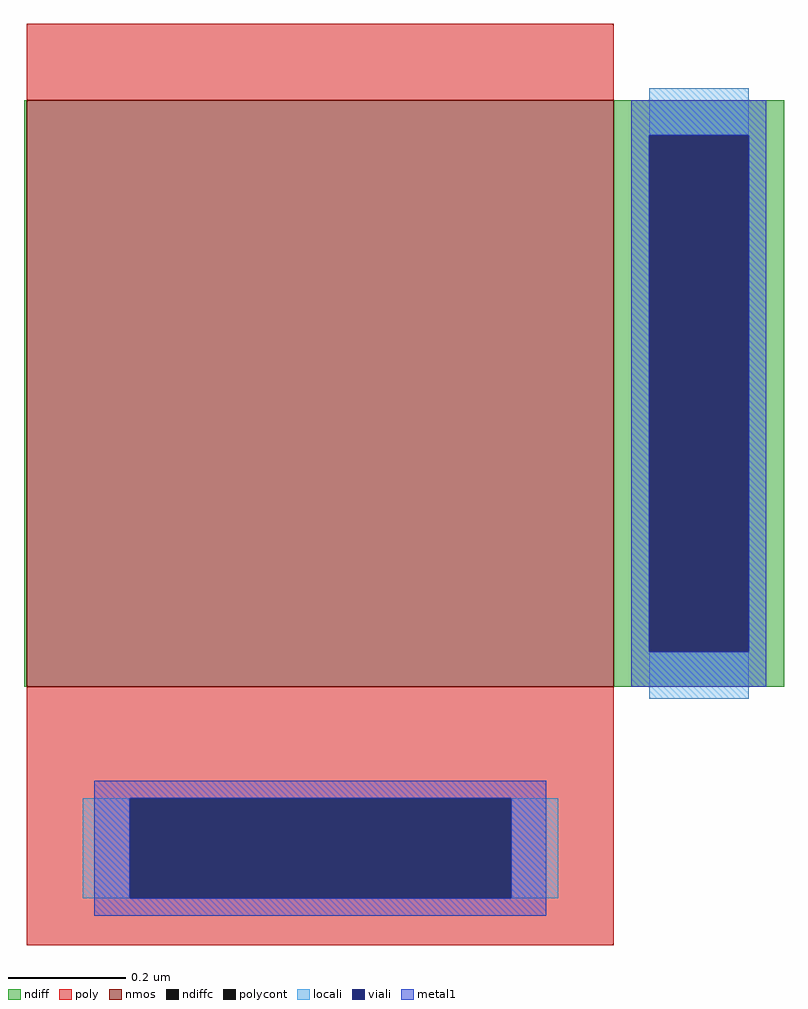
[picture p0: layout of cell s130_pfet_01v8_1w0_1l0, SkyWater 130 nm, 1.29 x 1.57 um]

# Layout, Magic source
magic
tech sky130A
magscale 1 2
<< nmos >>
rect -100 -69 100 131
<< ndiff >>
rect -101 -69 -100 131
rect 100 119 158 131
rect 100 -57 112 119
rect 146 -57 158 119
rect 100 -69 158 -57
<< ndiffc >>
rect 112 -57 146 119
<< poly >>
rect -100 131 100 157
rect -100 -107 100 -69
rect -100 -141 -65 -107
rect 65 -141 100 -107
rect -100 -157 100 -141
<< polycont >>
rect -65 -141 65 -107
<< locali >>
rect 112 119 146 135
rect 112 -73 146 -57
rect -81 -141 -65 -107
rect 65 -141 81 -107
<< viali >>
rect 112 -57 146 119
rect -65 -141 65 -107
<< metal1 >>
rect 106 119 152 131
rect 106 -57 112 119
rect 146 -57 152 119
rect 106 -69 152 -57
rect -77 -107 77 -101
rect -77 -141 -65 -107
rect 65 -141 77 -107
rect -77 -147 77 -141
<< properties >>
string gencell sky130_fd_pr__nfet_01v8
string library sky130
string parameters w 1.0 l 1.0 m 1 nf 1 diffcov 100 polycov 100 guard 0 glc 1 grc 1 gtc 1 gbc 1 tbcov 100 rlcov 100 topc 0 botc 1 poverlap 0 doverlap 0 lmin 0.15 wmin 0.42 class mosfet compatible {sky130_fd_pr__nfet_01v8 sky130_fd_pr__nfet_01v8_lvt  sky130_fd_bs_flash__special_sonosfet_star  sky130_fd_pr__nfet_g5v0d10v5 sky130_fd_pr__nfet_05v0_nvt  sky130_fd_pr__nfet_03v3_nvt} full_metal 0 viasrc 100 viadrn 100 viagate 100 viagb 0 viagr 0 viagl 0 viagt 0
<< end >>
